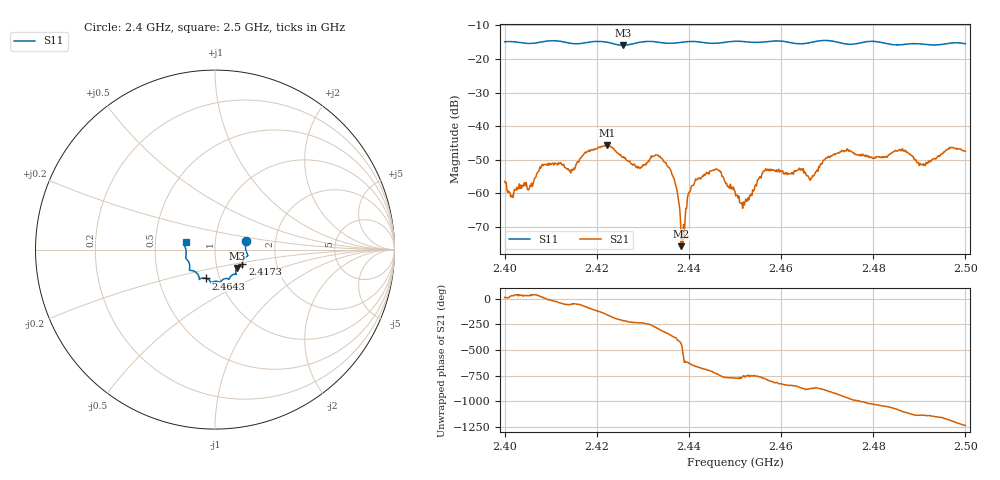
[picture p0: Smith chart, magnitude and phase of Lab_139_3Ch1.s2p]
# Hz S RI R 50
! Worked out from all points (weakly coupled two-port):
!   601 points, 2.4 GHz to 2.5 GHz, reference 50 ohm
!   highest |S21| = -45.75 dB at 2.4222 GHz (marker M1); lowest = -75.8 dB at 2.4383 GHz (marker M2)
!   lowest |S11| = -15.9 dB at 2.4257 GHz (marker M3), VSWR 1.38, Z = 62.4 - j13.1 ohm
!   |S11| at or under -10 dB: start of sweep to end of sweep
!   S12 and S22 are empty: the file has one direction only
!   S11 on the Smith chart (normalised r, x): 2.4 GHz: 1.41, +0.14; 2.4173 GHz: 1.34, -0.23; 2.4643 GHz: 0.86, -0.28; 2.5 GHz: 0.72, +0.06
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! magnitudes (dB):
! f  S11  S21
! 2.4 GHz  -14.9  -56.5
! 2.4015 GHz  -14.9  -60.9
! 2.4082 GHz  -14.9  -51.4
! 2.4167 GHz  -15.4  -49.3
! 2.4173 GHz  -15.2  -48.0
! 2.4222 GHz  -15.0  -45.8
! 2.4257 GHz  -15.9  -49.3
! 2.4333 GHz  -15.0  -48.7
! 2.4367 GHz  -15.3  -55.4
! 2.4383 GHz  -15.1  -75.8
! 2.4388 GHz  -15.0  -69.3
! 2.4402 GHz  -14.8  -59.7
! 2.4418 GHz  -14.9  -55.9
! 2.4462 GHz  -15.3  -52.9
! 2.45 GHz  -14.7  -59.4
! 2.4517 GHz  -14.8  -64.5
! 2.4565 GHz  -14.9  -53.3
! 2.4643 GHz  -15.5  -52.9
! 2.4667 GHz  -15.0  -55.4
! 2.4733 GHz  -15.4  -47.3
! 2.4833 GHz  -15.6  -48.6
! 2.5 GHz  -15.5  -47.5
